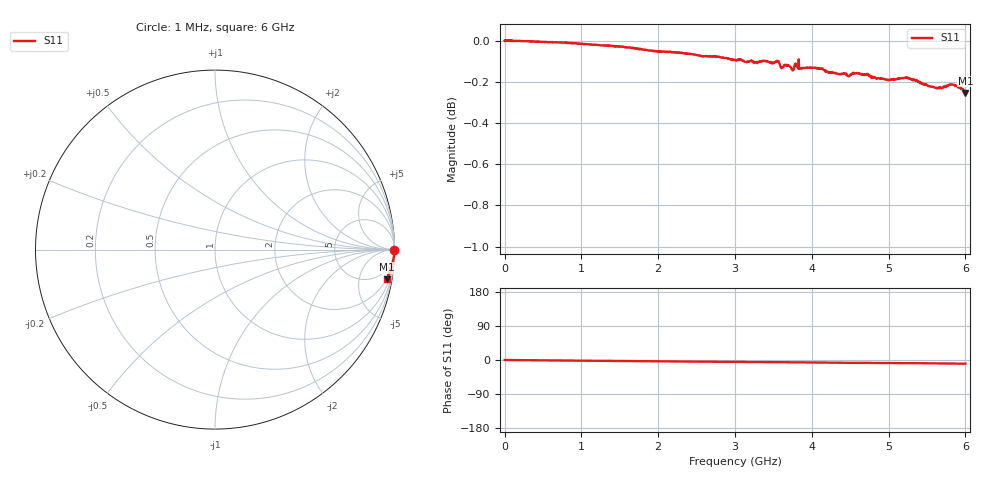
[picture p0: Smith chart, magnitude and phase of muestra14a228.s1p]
! COPPER MOUNTAIN TECHNOLOGIES, R60, 23103002, 24.3.3/3.0
! Date: 23/10/2026 13:46:16
! Data: Format [Calibration Info]
! Frequency		S11: Re/Im RO
# HZ S RI R 50
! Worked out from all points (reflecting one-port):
!   1280 points, 1 MHz to 6 GHz, reference 50 ohm
!   lowest |S11| = -0.3 dB at 6 GHz (marker M1), VSWR 68.35, Z = 98.2 - j569 ohm
!   phase of S11 starts at 0 deg and turns -10 deg over the sweep
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1000000  1 8.51e-05
7.55e8  0.9987 -0.0235
1.505e9  0.9957 -0.0451
1.82e9  0.9933 -0.0556
2.255e9  0.9912 -0.0673
2.525e9  0.9888 -0.0771
3.005e9  0.9854 -0.0888
3.43e9  0.9838 -0.096
3.545e9  0.9836 -0.0996
3.585e9  0.9819 -0.0978
3.61e9  0.9798 -0.1009
3.675e9  0.9812 -0.1028
3.72e9  0.9802 -0.1025
3.755e9  0.978 -0.1048
3.8e9  0.9807 -0.1044
3.865e9  0.9791 -0.1072
3.955e9  0.9789 -0.1096
4.11e9  0.9776 -0.1168
4.26e9  0.9746 -0.1235
4.41e9  0.9735 -0.1273
4.505e9  0.9729 -0.128
4.61e9  0.9736 -0.1285
4.81e9  0.9706 -0.1329
4.99e9  0.969 -0.1352
5.255e9  0.9695 -0.1376
5.63e9  0.962 -0.1513
5.835e9  0.9629 -0.1584
6e9  0.9571 -0.1646
